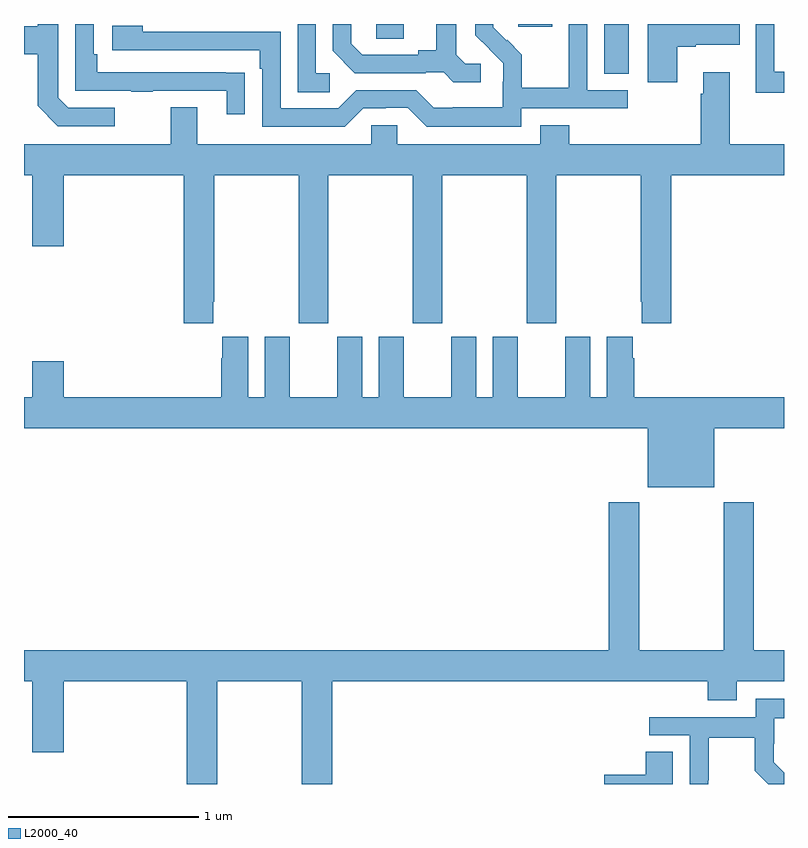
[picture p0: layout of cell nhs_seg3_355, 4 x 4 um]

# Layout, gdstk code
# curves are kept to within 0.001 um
import gdstk
lib = gdstk.Library(unit=1e-6, precision=1e-09)
def R(c, l, rs):  # rectangles x0, y0, x1, y1
    for r in rs: c.add(gdstk.rectangle(r[:2], r[2:], *l))
def P(c, l, *ps):  # polygons
    for p in ps: c.add(gdstk.Polygon(p, *l))
L2000_40 = (2000, 40)

nhs_seg3_355 = lib.new_cell('nhs_seg3_355')
R(nhs_seg3_355, L2000_40, [(132.053,680.137,132.184,680.4), (130.854,680.323,130.999,680.4), (131.6,680.385,131.779,680.4)])
P(nhs_seg3_355, L2000_40, [(133,680.15),(132.948,680.15),(132.948,680.4),(132.852,680.4),(132.852,680.037),(133,680.037)],
  [(130.608,680.142),(130.536,680.142),(130.536,680.4),(130.44,680.4),(130.44,680.041),(130.608,680.041)],
  [(130.163,680.144),(130.061,680.144),(130.061,680.145),(129.386,680.145),(129.386,680.242),(129.366,680.242),(129.366,680.4),(129.27,680.4),(129.27,680.049),(129.565,680.049),(129.565,680.044),(129.677,680.044),(129.677,680.049),(130.067,680.049),(130.067,679.926),(130.163,679.926)],
  [(131.404,680.19),(131.322,680.19),(131.275,680.237),(131.275,680.4),(131.171,680.4),(131.171,680.261),(131.075,680.261),(131.075,680.238),(130.78,680.238),(130.723,680.295),(130.723,680.4),(130.626,680.4),(130.626,680.258),(130.742,680.142),(131.114,680.142),(131.114,680.145),(131.208,680.145),(131.26,680.093),(131.404,680.093)],
  [(129.477,679.959),(129.234,679.959),(129.18,680.013),(129.18,680.4),(129.072,680.4),(129.072,680.389),(129,680.389),(129,680.242),(129.072,680.242),(129.072,679.969),(129.177,679.863),(129.477,679.863)],
  [(132.439,680.279),(132.535,680.279),(132.535,680.291),(132.766,680.291),(132.766,680.4),(132.284,680.4),(132.284,680.094),(132.439,680.094)],
  [(131.616,679.956),(132.178,679.956),(132.178,680.052),(131.964,680.052),(131.964,680.4),(131.868,680.4),(131.868,680.288),(131.866,680.288),(131.866,680.065),(131.621,680.065),(131.621,680.239),(131.544,680.316),(131.541,680.313),(131.471,680.384),(131.471,680.4),(131.376,680.4),(131.376,680.342),(131.522,680.194),(131.522,680.097),(131.52,680.097),(131.52,679.963),(131.257,679.963),(131.257,679.959),(131.157,679.959),(131.064,680.052),(130.749,680.052),(130.653,679.956),(130.35,679.956),(130.35,680.358),(129.626,680.358),(129.626,680.392),(129.465,680.392),(129.465,680.262),(130.241,680.262),(130.241,680.165),(130.254,680.165),(130.254,679.86),(130.689,679.86),(130.785,679.956),(130.904,679.956),(130.904,679.959),(131.019,679.959),(131.119,679.859),(131.616,679.859)],
  [(129.997,678.937),(130.002,678.937),(130.002,679.604),(130.447,679.604),(130.447,678.825),(130.602,678.825),(130.602,679.604),(131.047,679.604),(131.047,678.825),(131.202,678.825),(131.202,679.604),(131.647,679.604),(131.647,678.825),(131.802,678.825),(131.802,679.604),(132.247,679.604),(132.247,678.937),(132.251,678.937),(132.251,678.825),(132.407,678.825),(132.407,679.604),(133,679.604),(133,679.768),(132.715,679.768),(132.715,680.146),(132.575,680.146),(132.575,680.033),(132.563,680.033),(132.563,679.768),(131.87,679.768),(131.87,679.867),(131.717,679.867),(131.717,679.768),(130.965,679.768),(130.965,679.866),(130.827,679.866),(130.827,679.768),(129.913,679.768),(129.913,679.963),(129.773,679.963),(129.773,679.768),(129,679.768),(129,679.604),(129.044,679.604),(129.044,679.23),(129.208,679.23),(129.208,679.604),(129.842,679.604),(129.842,678.825),(129.997,678.825)],
  [(132.634,678.272),(133,678.272),(133,678.436),(132.212,678.436),(132.212,678.641),(132.205,678.641),(132.205,678.754),(132.068,678.754),(132.068,678.436),(131.98,678.436),(131.98,678.754),(131.849,678.754),(131.849,678.436),(131.599,678.436),(131.599,678.754),(131.468,678.754),(131.468,678.436),(131.38,678.436),(131.38,678.754),(131.249,678.754),(131.249,678.436),(130.999,678.436),(130.999,678.754),(130.868,678.754),(130.868,678.436),(130.78,678.436),(130.78,678.754),(130.649,678.754),(130.649,678.436),(130.399,678.436),(130.399,678.754),(130.268,678.754),(130.268,678.436),(130.18,678.436),(130.18,678.754),(130.043,678.754),(130.043,678.641),(130.037,678.641),(130.037,678.436),(129.208,678.436),(129.208,678.625),(129.044,678.625),(129.044,678.436),(129,678.436),(129,678.272),(132.284,678.272),(132.284,677.963),(132.634,677.963)],
  [(130.017,676.94),(130.462,676.94),(130.462,676.4),(130.622,676.4),(130.622,676.94),(132.599,676.94),(132.599,676.841),(132.751,676.841),(132.751,676.94),(133,676.94),(133,677.104),(132.842,677.104),(132.842,677.884),(132.682,677.884),(132.682,677.104),(132.237,677.104),(132.237,677.884),(132.077,677.884),(132.077,677.104),(129,677.104),(129,676.94),(129.044,676.94),(129.044,676.566),(129.208,676.566),(129.208,676.94),(129.857,676.94),(129.857,676.4),(130.017,676.4)],
  [(132.6,676.42),(132.603,676.42),(132.603,676.644),(132.847,676.644),(132.847,676.469),(132.916,676.4),(133,676.4),(133,676.46),(132.946,676.514),(132.946,676.611),(132.948,676.611),(132.948,676.745),(133,676.745),(133,676.849),(132.852,676.849),(132.852,676.752),(132.291,676.752),(132.291,676.656),(132.504,676.656),(132.504,676.4),(132.6,676.4)],
  [(132.415,676.571),(132.272,676.571),(132.272,676.448),(132.054,676.448),(132.054,676.4),(132.415,676.4)])

lib.write_gds('nhs_seg3_355.gds')
